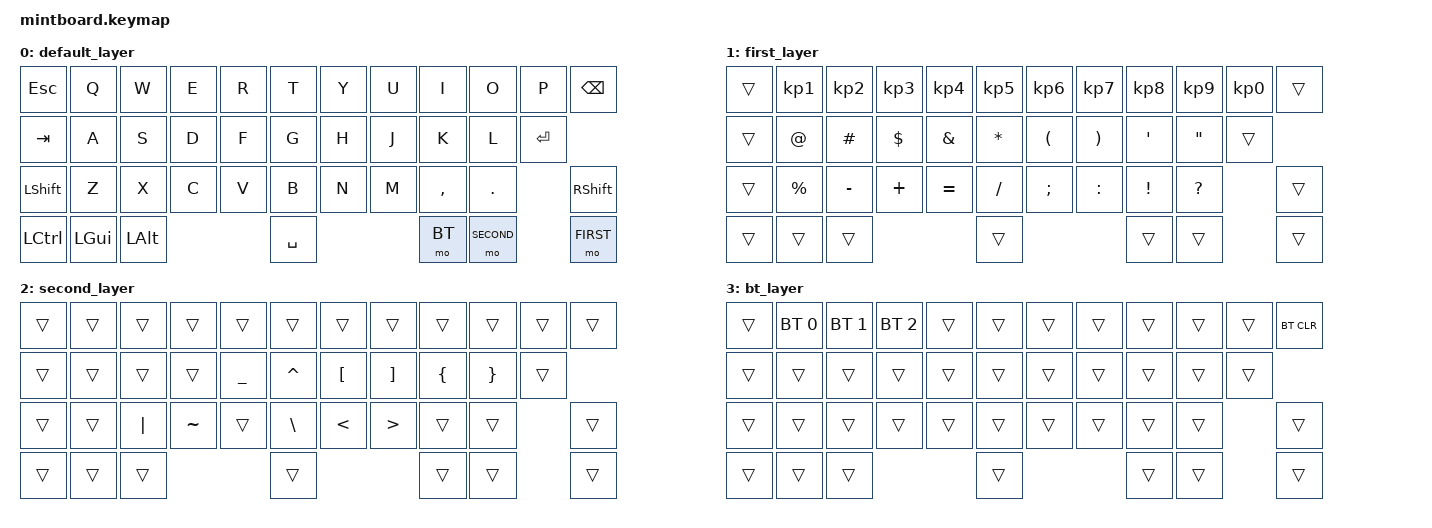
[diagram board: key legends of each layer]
#include <behaviors.dtsi>
#include <dt-bindings/zmk/keys.h>
#include <dt-bindings/zmk/bt.h>
//putting this like just to make it compile again so I can record it doing stuff

#define NONE 0
#define FIRST 1
#define SECOND 2
#define BT 3

/ {
    keymap {
        compatible = "zmk,keymap";

        default_layer {

            bindings = <
    &kp ESC    &kp Q    &kp W    &kp E    &kp R    &kp T    &kp Y    &kp U    &kp I     &kp O     &kp P     &kp BSPC
    &kp TAB    &kp A    &kp S    &kp D    &kp F    &kp G    &kp H    &kp J    &kp K     &kp L     &kp ENTER
    &kp LSHFT  &kp Z    &kp X    &kp C    &kp V    &kp B    &kp N    &kp M    &kp COMMA &kp DOT             &kp RSHFT
    &kp LCTRL  &kp LGUI &kp LALT                   &kp SPACE                  &mo BT    &mo SECOND          &mo FIRST
            >;
        };

        first_layer {

            bindings = <
    &trans     &kp KP_N1   &kp KP_N2   &kp KP_N3   &kp KP_N4   &kp KP_N5   &kp KP_N6   &kp KP_N7   &kp KP_N8   &kp KP_N9   &kp KP_N0   &trans
    &trans     &kp AT      &kp HASH    &kp DLLR    &kp AMPS    &kp STAR    &kp LPAR    &kp RPAR    &kp APOS    &kp DQT     &trans
    &trans     &kp PRCNT   &kp MINUS   &kp PLUS    &kp EQUAL   &kp FSLH    &kp SEMI    &kp COLON   &kp EXCL    &kp QMARK               &trans
    &trans     &trans      &trans                              &trans                              &trans      &trans                  &trans
            >;
        };

        second_layer {

            bindings = <
    &trans     &trans      &trans      &trans      &trans      &trans      &trans      &trans      &trans      &trans      &trans      &trans
    &trans     &trans      &trans      &trans      &kp UNDER   &kp CARET   &kp LBKT    &kp RBKT    &kp LBRC    &kp RBRC    &trans
    &trans     &trans      &kp PIPE    &kp TILDE   &trans   &kp BSLH    &kp LT      &kp GT      &trans      &trans                  &trans
    &trans     &trans      &trans                              &trans                              &trans      &trans                  &trans
            >;
        };

        bt_layer {

            bindings = <
    &trans   &bt BT_SEL 0 &bt BT_SEL 1 &bt BT_SEL 2 &trans     &trans      &trans      &trans      &trans      &trans      &trans      &bt BT_CLR
    &trans   &trans       &trans       &trans       &trans     &trans      &trans      &trans      &trans      &trans      &trans
    &trans   &trans       &trans       &trans       &trans     &trans      &trans      &trans      &trans      &trans                  &trans
    &trans   &trans       &trans                               &trans                              &trans      &trans                  &trans
            >;
        };
    };
};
